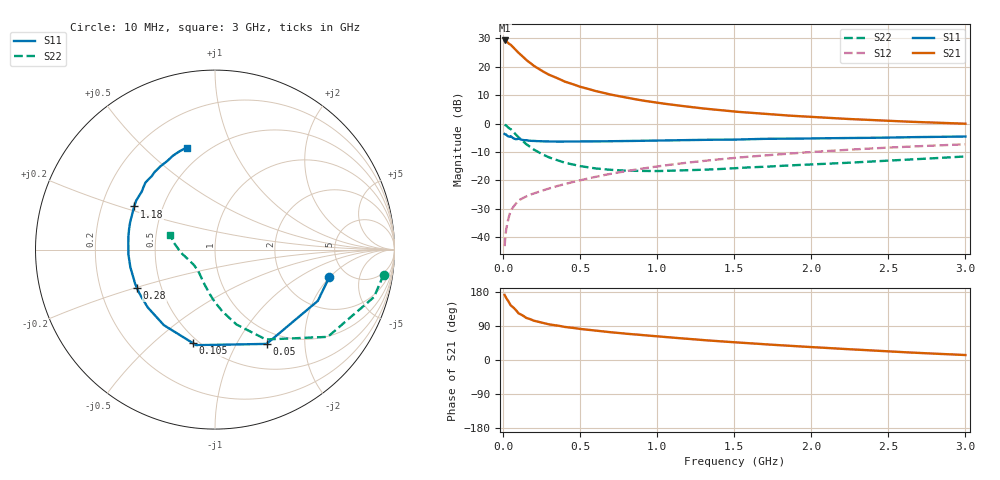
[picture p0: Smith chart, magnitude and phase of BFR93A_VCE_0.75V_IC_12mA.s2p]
! Infineon Technologies  Discrete & RF Semiconductors
! BFR93A
! VCE = 0.75 V,  IC =  12 mA
! Common Emitter S-Parameters:  Nov 2015
# GHz  S  MA  R  50
!  f  S11  S21  S12  S22
! GHz  MAG  ANG  MAG  ANG  MAG  ANG  MAG  ANG
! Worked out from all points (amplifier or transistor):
!   180 points, 10 MHz to 3 GHz, reference 50 ohm
!   highest |S21| = 29.3 dB at 10 MHz (marker M1)
!   |S21| within 3 dB of that: start of sweep to 75.75 MHz
!   unconditionally stable (mu >= 1): 459.2 MHz to end of sweep
!   at 160 MHz: K = 0.59, MSG = 23.7 dB, |S12| = -25.4 dB
!   at 1.22 GHz: K = 1.12, MAG = 7.6 dB, |S12| = -13.6 dB
!   at 3 GHz: K = 1.04, MAG = 2.4 dB, |S12| = -7.3 dB
!   S11 on the Smith chart (normalised r, x): 10 MHz: 3.66, -1.98; 50 MHz: 0.82, -1.34; 105 MHz: 0.47, -0.68; 280 MHz: 0.36, -0.20; 1.18 GHz: 0.34, +0.22; 3 GHz: 0.39, +0.68
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0.01  0.6548 -13.6  29.09 171.7  0.0069 83.1  0.9501 -8.4
0.02  0.6402 -26.5  28.3 163.8  0.0135 77.7  0.9245 -16.6
0.05  0.5989 -61.3  24.37 144.0  0.0292 64.7  0.7945 -37.7
0.1  0.5427 -101.1  17.69 123.2  0.044 53.5  0.5754 -60.5
0.105  0.5356 -103.2  17.21 122.3  0.0448 53.2  0.5602 -61.5
0.15  0.5083 -124.1  13.19 111.2  0.052 50.5  0.434 -74.0
0.2  0.4941 -139.3  10.39 103.7  0.0588 50.6  0.3468 -83.2
0.24  0.4874 -147.5  8.876 99.4  0.0639 51.6  0.3013 -88.8
0.28  0.4844 -153.9  7.719 95.8  0.0692 52.7  0.2671 -93.8
0.3  0.484 -156.8  7.201 93.9  0.0719 53.3  0.2521 -96.3
0.4  0.4817 -168.1  5.485 87.3  0.0857 55.8  0.2042 -106.3
0.5  0.4831 -176.7  4.446 82.0  0.1 57.3  0.1778 -114.0
0.52  0.4828 -178.0  4.303 81.2  0.103 57.5  0.1744 -115.4
0.6  0.484 176.7  3.741 77.4  0.1149 58.3  0.1618 -121.4
0.7  0.4879 171.7  3.23 73.2  0.1302 58.6  0.1528 -127.6
0.8  0.4918 167.0  2.852 69.3  0.1451 58.7  0.1476 -133.8
1.02  0.5009 157.5  2.285 61.7  0.1782 57.3  0.1456 -144.6
1.18  0.5104 151.9  2.012 56.5  0.202 55.9  0.15 -151.5
1.52  0.5217 141.3  1.61 46.3  0.2502 52.3  0.1642 -163.2
2.02  0.5476 127.9  1.294 33.7  0.3169 46.0  0.1913 -175.8
2.52  0.5671 116.1  1.11 22.4  0.3787 39.0  0.2233 173.1
3  0.59 105.5  0.993 13.1  0.4308 31.9  0.263 162.1
